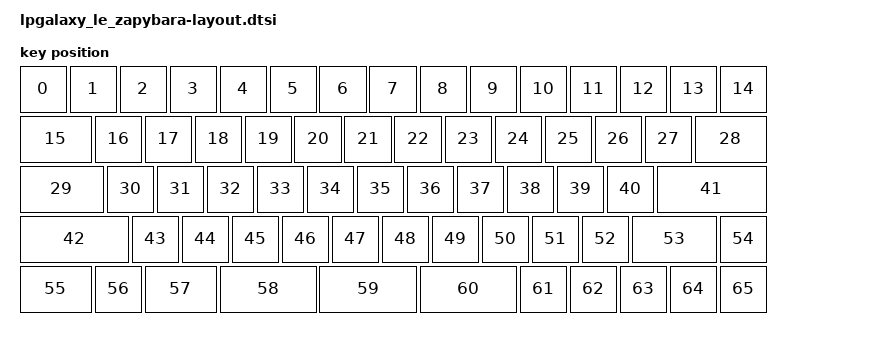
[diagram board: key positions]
#include <physical_layouts.dtsi>

/* write a layout with all the keys */
/* then define layouts with less keys and reference the full key layout */
/* If keyboard has multiple layouts, define multiple matrix transformations and multiple physical layouts, one for each layout */
/ {

    layout_0: layout_0 {
        compatible = "zmk,physical-layout";
	    display-name = "Standard";
	    // kscan = <&matrix>;

        keys  //                     w   h    x    y     rot    rx    ry
            = <&key_physical_attrs 100 100  250    0       0     0     0>
            , <&key_physical_attrs 100 100  350    0       0     0     0>
            , <&key_physical_attrs 100 100  450    0       0     0     0>
            , <&key_physical_attrs 100 100  550    0       0     0     0>
            , <&key_physical_attrs 100 100  650    0       0     0     0>
            , <&key_physical_attrs 100 100  750    0       0     0     0>
            , <&key_physical_attrs 100 100  850    0       0     0     0>
            , <&key_physical_attrs 100 100  950    0       0     0     0>
            , <&key_physical_attrs 100 100 1050    0       0     0     0>
            , <&key_physical_attrs 100 100 1150    0       0     0     0>
            , <&key_physical_attrs 100 100 1250    0       0     0     0>
            , <&key_physical_attrs 100 100 1350    0       0     0     0>
            , <&key_physical_attrs 100 100 1450    0       0     0     0>
            , <&key_physical_attrs 100 100 1550    0       0     0     0>
            , <&key_physical_attrs 100 100 1650    0       0     0     0>
            , <&key_physical_attrs 150 100  250  100       0     0     0>
            , <&key_physical_attrs 100 100  400  100       0     0     0>
            , <&key_physical_attrs 100 100  500  100       0     0     0>
            , <&key_physical_attrs 100 100  600  100       0     0     0>
            , <&key_physical_attrs 100 100  700  100       0     0     0>
            , <&key_physical_attrs 100 100  800  100       0     0     0>
            , <&key_physical_attrs 100 100  900  100       0     0     0>
            , <&key_physical_attrs 100 100 1000  100       0     0     0>
            , <&key_physical_attrs 100 100 1100  100       0     0     0>
            , <&key_physical_attrs 100 100 1200  100       0     0     0>
            , <&key_physical_attrs 100 100 1300  100       0     0     0>
            , <&key_physical_attrs 100 100 1400  100       0     0     0>
            , <&key_physical_attrs 100 100 1500  100       0     0     0>
            , <&key_physical_attrs 150 100 1600  100       0     0     0>
            , <&key_physical_attrs 175 100  250  200       0     0     0>
            , <&key_physical_attrs 100 100  425  200       0     0     0>
            , <&key_physical_attrs 100 100  525  200       0     0     0>
            , <&key_physical_attrs 100 100  625  200       0     0     0>
            , <&key_physical_attrs 100 100  725  200       0     0     0>
            , <&key_physical_attrs 100 100  825  200       0     0     0>
            , <&key_physical_attrs 100 100  925  200       0     0     0>
            , <&key_physical_attrs 100 100 1025  200       0     0     0>
            , <&key_physical_attrs 100 100 1125  200       0     0     0>
            , <&key_physical_attrs 100 100 1225  200       0     0     0>
            , <&key_physical_attrs 100 100 1325  200       0     0     0>
            , <&key_physical_attrs 100 100 1425  200       0     0     0>
            , <&key_physical_attrs 225 100 1525  200       0     0     0>
            , <&key_physical_attrs 225 100  250  300       0     0     0>
            , <&key_physical_attrs 100 100  475  300       0     0     0>
            , <&key_physical_attrs 100 100  575  300       0     0     0>
            , <&key_physical_attrs 100 100  675  300       0     0     0>
            , <&key_physical_attrs 100 100  775  300       0     0     0>
            , <&key_physical_attrs 100 100  875  300       0     0     0>
            , <&key_physical_attrs 100 100  975  300       0     0     0>
            , <&key_physical_attrs 100 100 1075  300       0     0     0>
            , <&key_physical_attrs 100 100 1175  300       0     0     0>
            , <&key_physical_attrs 100 100 1275  300       0     0     0>
            , <&key_physical_attrs 100 100 1375  300       0     0     0>
            , <&key_physical_attrs 175 100 1475  300       0     0     0>
            , <&key_physical_attrs 100 100 1650  300       0     0     0>
            , <&key_physical_attrs 150 100  250  400       0     0     0>
            , <&key_physical_attrs 100 100  400  400       0     0     0>
            , <&key_physical_attrs 150 100  500  400       0     0     0>
            , <&key_physical_attrs 200 100  650  400       0     0     0>
            , <&key_physical_attrs 200 100  850  400       0     0     0>
            , <&key_physical_attrs 200 100 1050  400       0     0     0>
            , <&key_physical_attrs 100 100 1250  400       0     0     0>
            , <&key_physical_attrs 100 100 1350  400       0     0     0>
            , <&key_physical_attrs 100 100 1450  400       0     0     0>
            , <&key_physical_attrs 100 100 1550  400       0     0     0>
            , <&key_physical_attrs 100 100 1650  400       0     0     0>
            ;
    };

    position_map {
        compatible = "zmk,physical-layout-position-map";

        layout_0 {
            physical-layout = <&layout_0>;
            positions
                = < 0  1  2  3  4  5  6  7  8  9 10 11 12 13 14 15>
                , <16 17 18 19 20 21 22 23 24 25 26 27 28>
                , <29 30 31 32 33 34 35 36 37 38 39 40 41>
                , <42 43 44 45 46 47 48 49 50 51 52 53 54>
                , <55 56 57 58 59 60 61 62 63 64 65>
                ;
        };
  };
};

&layout_0 {
    transform = <&transform>;
};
